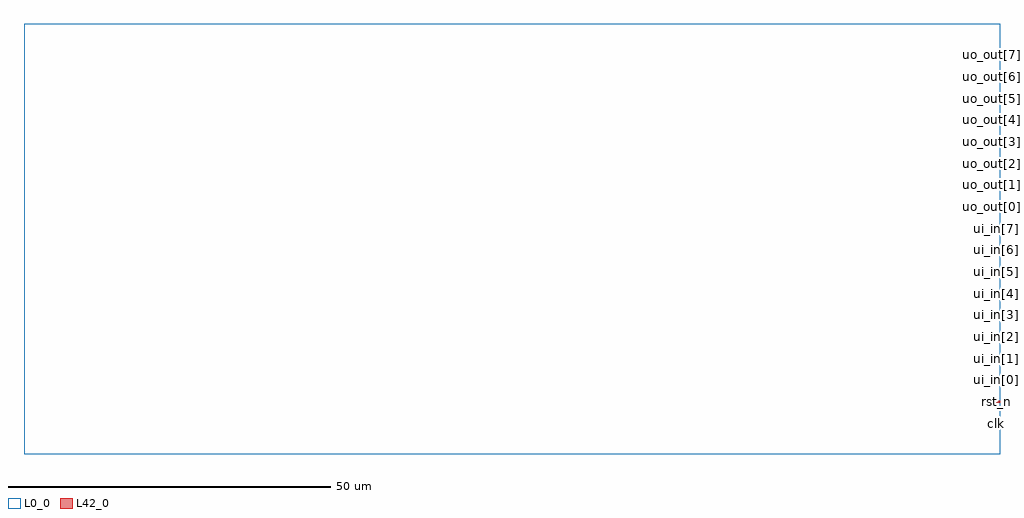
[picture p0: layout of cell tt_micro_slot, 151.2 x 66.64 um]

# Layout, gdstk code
import gdstk
lib = gdstk.Library(unit=1e-6, precision=1e-09)
def R(c, l, rs):  # rectangles x0, y0, x1, y1
    for r in rs: c.add(gdstk.rectangle(r[:2], r[2:], *l))
def A(c, l, x, y, w, h, nx, ny, dx, dy):  # array of equal rectangles
    R(c, l, [(x+i*dx, y+j*dy, x+i*dx+w, y+j*dy+h) for i in range(nx) for j in range(ny)])
L0_0 = (0, 0)
L42_0 = (42, 0)

tt_micro_slot = lib.new_cell('tt_micro_slot')
R(tt_micro_slot, L0_0, [(0,0,151.2,66.64)])
A(tt_micro_slot, L42_0, 150.2, 4.61, 1, 0.3, 1, 18, 0, 3.36)
tt_micro_slot.add(gdstk.Label('clk', (150.7,4.76), layer=42, texttype=10))
tt_micro_slot.add(gdstk.Label('rst_n', (150.7,8.12), layer=42, texttype=10))
tt_micro_slot.add(gdstk.Label('ui_in[0]', (150.7,11.48), layer=42, texttype=10))
tt_micro_slot.add(gdstk.Label('ui_in[1]', (150.7,14.84), layer=42, texttype=10))
tt_micro_slot.add(gdstk.Label('ui_in[2]', (150.7,18.2), layer=42, texttype=10))
tt_micro_slot.add(gdstk.Label('ui_in[3]', (150.7,21.56), layer=42, texttype=10))
tt_micro_slot.add(gdstk.Label('ui_in[4]', (150.7,24.92), layer=42, texttype=10))
tt_micro_slot.add(gdstk.Label('ui_in[5]', (150.7,28.28), layer=42, texttype=10))
tt_micro_slot.add(gdstk.Label('ui_in[6]', (150.7,31.64), layer=42, texttype=10))
tt_micro_slot.add(gdstk.Label('ui_in[7]', (150.7,35), layer=42, texttype=10))
tt_micro_slot.add(gdstk.Label('uo_out[0]', (150.7,38.36), layer=42, texttype=10))
tt_micro_slot.add(gdstk.Label('uo_out[1]', (150.7,41.72), layer=42, texttype=10))
tt_micro_slot.add(gdstk.Label('uo_out[2]', (150.7,45.08), layer=42, texttype=10))
tt_micro_slot.add(gdstk.Label('uo_out[3]', (150.7,48.44), layer=42, texttype=10))
tt_micro_slot.add(gdstk.Label('uo_out[4]', (150.7,51.8), layer=42, texttype=10))
tt_micro_slot.add(gdstk.Label('uo_out[5]', (150.7,55.16), layer=42, texttype=10))
tt_micro_slot.add(gdstk.Label('uo_out[6]', (150.7,58.52), layer=42, texttype=10))
tt_micro_slot.add(gdstk.Label('uo_out[7]', (150.7,61.88), layer=42, texttype=10))

lib.write_gds('tt_micro_slot.gds')
